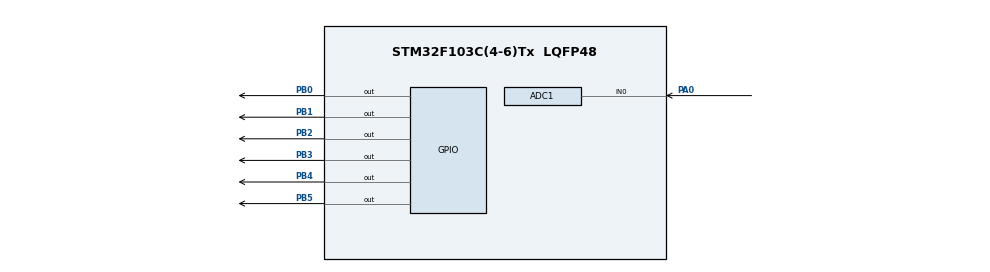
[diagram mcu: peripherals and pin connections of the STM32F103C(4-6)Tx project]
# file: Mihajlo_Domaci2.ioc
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ADC1.Channel-0\#ChannelRegularConversion=ADC_CHANNEL_0
ADC1.NbrOfConversionFlag=1
ADC1.Rank-0\#ChannelRegularConversion=1
ADC1.SamplingTime-0\#ChannelRegularConversion=ADC_SAMPLETIME_1CYCLE_5
ADC1.master=1
Mcu.Family=STM32F1
Mcu.Name=STM32F103C(4-6)Tx
Mcu.Package=LQFP48
NVIC.PriorityGroup=NVIC_PRIORITYGROUP_4
PA0-WKUP.Signal=ADCx_IN0
PB0.Signal=GPIO_Output
PB1.Signal=GPIO_Output
PB2.Signal=GPIO_Output
PB3.Signal=GPIO_Output
PB4.Signal=GPIO_Output
PB5.Signal=GPIO_Output
PD0-OSC_IN.Mode=HSE-External-Oscillator
PD0-OSC_IN.Signal=RCC_OSC_IN
PD1-OSC_OUT.Mode=HSE-External-Oscillator
PD1-OSC_OUT.Signal=RCC_OSC_OUT
ProjectManager.HeapSize=0x200
ProjectManager.StackSize=0x400
ProjectManager.TargetToolchain=STM32CubeIDE
RCC.APB1Freq_Value=8000000
RCC.APB2Freq_Value=8000000
SH.ADCx_IN0.0=ADC1_IN0,IN0
board=custom

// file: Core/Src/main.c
/* USER CODE BEGIN Header */
/**
  ******************************************************************************
  * @file           : main.c
  * @brief          : Main program body
  ******************************************************************************
  * @attention
  *
  * Copyright (c) 2023 STMicroelectronics.
  * All rights reserved.
  *
  * This software is licensed under terms that can be found in the LICENSE file
  * in the root directory of this software component.
  * If no LICENSE file comes with this software, it is provided AS-IS.
  *
  ******************************************************************************
  */
/* USER CODE END Header */
#include "main.h"

ADC_HandleTypeDef hadc1;

void SystemClock_Config(void);
static void MX_GPIO_Init(void);
static void MX_ADC1_Init(void);

int main(void)
{
  /* USER CODE BEGIN 1 */
	float max_temp = 75;

	int vrste[] = {0, 0, 1, 1, 1, 3, 3, 1, 1, 1, 2, 3, 3, 0, 3};
	int epruveta = 3;
	int index = 0;

	int levo_ras(int *index, int length, int vrste, int epruveta) {
	    int levo_ras = 0;
	    for (int i = 0; i < length; i++) {
	        if (vrste[*index] == epruveta) {
	            return levo_ras;
	        } else {
	            (*index)--;
	            levo_ras++;
	            if (*index < 0) {
	                *index = *index + length;
	            }
	        }
	    }
	    return 100;
	}

	int desno_ras(int *index, int length, int vrste, int epruveta) {
	    int desno_ras = 0;
	    for (int i = 0; i < length; i++) {
	        if (vrste[*index] == epruveta) {
	            return desno_ras;
	        } else {
	            (*index)++;
	            desno_ras++;
	            if (*index == length) {
	                *index = *index - length;
	            }
	        }
	    }
	    return 100;
	}

  /* USER CODE END 1 */

  /* MCU Configuration--------------------------------------------------------*/

  /* Reset of all peripherals, Initializes the Flash interface and the Systick. */
  HAL_Init();

  /* Configure the system clock */
  SystemClock_Config();

  /* Initialize all configured peripherals */
  MX_GPIO_Init();
  MX_ADC1_Init();
  /* USER CODE BEGIN 2 */
  HAL_ADC_Start(&hadc1);
  HAL_ADC_PollForConversion(&hadc1, 100);
  senzor = HAL_ADC_GetValue(&hadc1);
  float temp=((sensortemp*3.3)/1551)*100;
  /* USER CODE END 2 */

  /* Infinite loop */
  while (1)
  {

  }
}

void SystemClock_Config(void)
{
  RCC_OscInitTypeDef RCC_OscInitStruct = {0};
  RCC_ClkInitTypeDef RCC_ClkInitStruct = {0};
  RCC_PeriphCLKInitTypeDef PeriphClkInit = {0};

  /** Initializes the RCC Oscillators according to the specified parameters
  * in the RCC_OscInitTypeDef structure.
  */
  RCC_OscInitStruct.OscillatorType = RCC_OSCILLATORTYPE_HSI;
  RCC_OscInitStruct.HSIState = RCC_HSI_ON;
  RCC_OscInitStruct.HSICalibrationValue = RCC_HSICALIBRATION_DEFAULT;
  RCC_OscInitStruct.PLL.PLLState = RCC_PLL_NONE;
  if (HAL_RCC_OscConfig(&RCC_OscInitStruct) != HAL_OK)
  {
    Error_Handler();
  }

  /** Initializes the CPU, AHB and APB buses clocks
  */
  RCC_ClkInitStruct.ClockType = RCC_CLOCKTYPE_HCLK|RCC_CLOCKTYPE_SYSCLK
                              |RCC_CLOCKTYPE_PCLK1|RCC_CLOCKTYPE_PCLK2;
  RCC_ClkInitStruct.SYSCLKSource = RCC_SYSCLKSOURCE_HSI;
  RCC_ClkInitStruct.AHBCLKDivider = RCC_SYSCLK_DIV1;
  RCC_ClkInitStruct.APB1CLKDivider = RCC_HCLK_DIV1;
  RCC_ClkInitStruct.APB2CLKDivider = RCC_HCLK_DIV1;

  if (HAL_RCC_ClockConfig(&RCC_ClkInitStruct, FLASH_LATENCY_0) != HAL_OK)
  {
    Error_Handler();
  }
  PeriphClkInit.PeriphClockSelection = RCC_PERIPHCLK_ADC;
  PeriphClkInit.AdcClockSelection = RCC_ADCPCLK2_DIV2;
  if (HAL_RCCEx_PeriphCLKConfig(&PeriphClkInit) != HAL_OK)
  {
    Error_Handler();
  }
}

static void MX_ADC1_Init(void)
{

  ADC_ChannelConfTypeDef sConfig = {0};

  /** Common config
  */
  hadc1.Instance = ADC1;
  hadc1.Init.ScanConvMode = ADC_SCAN_DISABLE;
  hadc1.Init.ContinuousConvMode = DISABLE;
  hadc1.Init.DiscontinuousConvMode = DISABLE;
  hadc1.Init.ExternalTrigConv = ADC_SOFTWARE_START;
  hadc1.Init.DataAlign = ADC_DATAALIGN_RIGHT;
  hadc1.Init.NbrOfConversion = 1;
  if (HAL_ADC_Init(&hadc1) != HAL_OK)
  {
    Error_Handler();
  }

  /** Configure Regular Channel
  */
  sConfig.Channel = ADC_CHANNEL_0;
  sConfig.Rank = ADC_REGULAR_RANK_1;
  sConfig.SamplingTime = ADC_SAMPLETIME_1CYCLE_5;
  if (HAL_ADC_ConfigChannel(&hadc1, &sConfig) != HAL_OK)
  {
    Error_Handler();
  }

}

static void MX_GPIO_Init(void)
{
  GPIO_InitTypeDef GPIO_InitStruct = {0};

  /* GPIO Ports Clock Enable */
  __HAL_RCC_GPIOD_CLK_ENABLE();
  __HAL_RCC_GPIOA_CLK_ENABLE();
  __HAL_RCC_GPIOB_CLK_ENABLE();

  /*Configure GPIO pin Output Level */
  HAL_GPIO_WritePin(GPIOB, GPIO_PIN_0|GPIO_PIN_1|GPIO_PIN_2|GPIO_PIN_3
                          |GPIO_PIN_4|GPIO_PIN_5, GPIO_PIN_RESET);

  /*Configure GPIO pins : PB0 PB1 PB2 PB3
                           PB4 PB5 */
  GPIO_InitStruct.Pin = GPIO_PIN_0|GPIO_PIN_1|GPIO_PIN_2|GPIO_PIN_3
                          |GPIO_PIN_4|GPIO_PIN_5;
  GPIO_InitStruct.Mode = GPIO_MODE_OUTPUT_PP;
  GPIO_InitStruct.Pull = GPIO_NOPULL;
  GPIO_InitStruct.Speed = GPIO_SPEED_FREQ_LOW;
  HAL_GPIO_Init(GPIOB, &GPIO_InitStruct);

}

void Error_Handler(void)
{
  __disable_irq();
  while (1)
  {
  }
}
